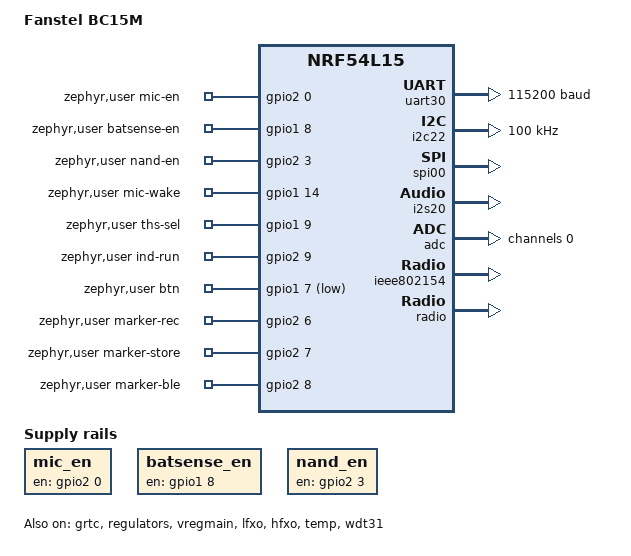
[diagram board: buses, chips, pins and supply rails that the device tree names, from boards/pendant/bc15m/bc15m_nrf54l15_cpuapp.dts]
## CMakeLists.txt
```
cmake_minimum_required(VERSION 3.20.0)
find_package(Zephyr REQUIRED HINTS $ENV{ZEPHYR_BASE})
project(lifeos_pendant)

target_sources(app PRIVATE src/main.c src/audio.c src/store.c src/marker.c src/clock.c src/ble.c src/scenario.c src/supervisor.c src/ota.c
	lib/ima_adpcm/ima_adpcm.c lib/audio_dsp/audio_dsp.c lib/chunk/chunk.c lib/ring/ring.c lib/health/health.c lib/sync/sync.c
	lib/aad/aad.c lib/t5838/t5838.c lib/provision/provision.c)
target_sources_ifdef(CONFIG_PENDANT_CRYPTO_BENCH app PRIVATE src/crypto_bench.c)
target_include_directories(app PRIVATE lib/ima_adpcm lib/audio_dsp lib/chunk lib/ring lib/health lib/sync lib/aad lib/t5838 lib/provision)

if(CONFIG_PENDANT_REQUIRE_PROVISIONING)
  if(NOT CONFIG_PENDANT_BLE_SECURE)
    message(FATAL_ERROR "PENDANT_REQUIRE_PROVISIONING needs PENDANT_BLE_SECURE=y")
  endif()
  if(CONFIG_PENDANT_AUTO_RECORD)
    message(FATAL_ERROR "PENDANT_REQUIRE_PROVISIONING forbids PENDANT_AUTO_RECORD=y")
  endif()
  if(NOT CONFIG_PENDANT_BLE OR NOT CONFIG_BT_SMP OR NOT CONFIG_BT_SETTINGS OR
     NOT CONFIG_BT_PRIVACY OR NOT CONFIG_BT_FILTER_ACCEPT_LIST OR
     NOT CONFIG_MCUMGR_TRANSPORT_BT_PERM_RW_AUTHEN)
    message(FATAL_ERROR
      "PENDANT_REQUIRE_PROVISIONING needs BLE, SMP, settings, privacy, "
      "a filter accept list, and authenticated MCUmgr")
  endif()
endif()

if(CONFIG_PENDANT_RELEASE)
  if(NOT CONFIG_MCUBOOT_SIGNATURE_KEY_FILE OR
     CONFIG_MCUBOOT_SIGNATURE_KEY_FILE MATCHES ".*/bootloader/mcuboot/root-ed25519\\.pem")
    message(FATAL_ERROR "PENDANT_RELEASE must use a product MCUboot signing key, not the NCS dev key")
  endif()
  if(NOT CONFIG_MCUBOOT_BOOTLOADER_NO_DOWNGRADE)
    message(FATAL_ERROR "PENDANT_RELEASE needs MCUboot downgrade prevention")
  endif()
  if(NOT CONFIG_PENDANT_WDT)
    message(FATAL_ERROR "PENDANT_RELEASE needs PENDANT_WDT=y")
  endif()
  if(NOT CONFIG_PENDANT_BLE_SECURE OR NOT CONFIG_PENDANT_REQUIRE_PROVISIONING)
    message(FATAL_ERROR "PENDANT_RELEASE needs secure BLE and provisioning")
  endif()
endif()
```

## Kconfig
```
mainmenu "lifeOS Pendant"

config PENDANT_CHUNK_BYTES
	int "ADPCM payload bytes per record (8 s at 32 kbps = 32000)"
	default 32000
	range 4000 65536
	help
	  Must be a multiple of 400 (one 100 ms PDM block = 800 samples = 400 ADPCM bytes).
	  Changing it changes the ring's maximum record size, so reformat (PENDANT_FORMAT_ON_BOOT).

config PENDANT_MIC_GAIN
	depends on PENDANT_AUDIO_SOURCE_PDM
	int "PDM hardware gain in 0.5 dB steps (40 = 0 dB, 80 = +20 dB)"
	default 64
	range 0 80
	help
	  The MSM261 on the XIAO Sense is -26 dBFS at 94 dB SPL, so talking at 60 dB SPL arrives at
	  about -60 dBFS (rms ~30 LSB), close to ADPCM's smallest step (7). Gain before encoding.

config PENDANT_PDM_CLK_MIN
	depends on PENDANT_AUDIO_SOURCE_PDM
	int "Lowest PDM clock the driver may choose (Hz)"
	default 1000000
	help
	  The XIAO's MSM261 wants 1-3.5 MHz. The T5838 low-power mode wants about 768 kHz (its datasheet:
	  AAD D1 and Low-Power mode at CLK = 768 kHz), so Phase 1 needs 600000 here if the nRF can do it.

config PENDANT_PDM_CLK_MAX
	depends on PENDANT_AUDIO_SOURCE_PDM
	int "Highest PDM clock the driver may choose (Hz)"
	default 3500000

config PENDANT_PCM_RATE
	depends on PENDANT_AUDIO_SOURCE_PDM || PENDANT_AUDIO_SOURCE_I2S
	int "PCM sample rate after source conversion (Hz)"
	default 8000

config PENDANT_DC_BLOCK
	depends on PENDANT_AUDIO_SOURCE_PDM || PENDANT_AUDIO_SOURCE_I2S
	bool "Remove the microphone's DC offset before ADPCM"
	default y
	help
	  The MSM261 sits at -90 LSB at 0 dB gain and the offset grows with the gain (about -1000 at
	  +20 dB). A 5 Hz one-pole high-pass keeps the ADPCM step range for the speech.

choice PENDANT_AUDIO_SOURCE
	prompt "Audio input source"
	default PENDANT_AUDIO_SOURCE_PDM if BOARD_XIAO_NRF54L15_NRF54L15_CPUAPP
	default PENDANT_AUDIO_SOURCE_NONE
	help
	  PDM is the XIAO's on-board MSM261. Standard rev 0 has no PDM; its T5848 I2S source is
	  added with issue #35.

config PENDANT_AUDIO_SOURCE_NONE
	bool "No audio source (build-only)"

config PENDANT_AUDIO_SOURCE_PDM
	bool "PDM (XIAO on-board MSM261)"
	depends on DT_HAS_NORDIC_NRF_PDM_ENABLED
	select AUDIO
	select AUDIO_DMIC

config PENDANT_AUDIO_SOURCE_I2S
	bool "I2S (T5848 on BC15M)"
	depends on DT_HAS_NORDIC_NRF_I2S_ENABLED
	select I2S

endchoice

config PENDANT_WDT
	bool "Hardware watchdog fed by the heartbeat supervisor"
	default y

config PENDANT_WDT_TIMEOUT_MS
	int "Watchdog timeout"
	default 8000

config PENDANT_AUDIO_MAX_READ_ERRORS
	depends on PENDANT_AUDIO_SOURCE_PDM || PENDANT_AUDIO_SOURCE_I2S
	int "Consecutive audio read errors before the audio thread stops"
	default 5
	range 1 100
	help
	  A dead microphone must not keep feeding the audio heartbeat. After this many consecutive
	  errors the thread exits and leaves the supervisor armed, so the watchdog resets the chip.

config PENDANT_TEST_HANG_S
	depends on PENDANT_AUDIO_SOURCE_PDM || PENDANT_AUDIO_SOURCE_I2S
	int "Test: hang the audio thread after this many seconds of recording (0 = never)"
	default 0
	help
	  Used to see the watchdog work: the supervisor stops feeding, the chip resets and the next
	  boot logs and records the cause.

config PENDANT_TEST_READ_ERRORS
	depends on PENDANT_AUDIO_SOURCE_PDM || PENDANT_AUDIO_SOURCE_I2S
	int "Test: inject this many audio read errors in total, starting with the first read (0 = never)"
	default 0
	range 0 100
	help
	  Exercises the read-error limit once per boot. Keep it below PENDANT_AUDIO_MAX_READ_ERRORS
	  to test recovery, or above it to test the watchdog reset.

config PENDANT_TEST_WRITER_STALL_MS
	int "Test: sleep in the writer before each ring append (ms, 0 = off)"
	default 0
	range 0 60000
	help
	  Holds a chunk buffer long enough for the audio thread to block on the full queue, so
	  audio_stop() can be tested while the writer is stalled.

config PENDANT_TEST_AUDIO_CYCLES
	depends on PENDANT_AUDIO_SOURCE_PDM || PENDANT_AUDIO_SOURCE_I2S
	int "Test: run this many audio start/stop cycles before the scenario (0 = off)"
	default 0
	range 0 100
	help
	  Each cycle records long enough for at least one full chunk and stops in the middle of the
	  next one. After every cycle it checks that the thread is gone and a chunk was produced. With
	  no writer stall it also checks that no chunk buffer was lost. Run it once without the stall
	  and once with a stall longer than a chunk. Use with PENDANT_MEASURE.

config PENDANT_TEST_OTA_DENY
	bool "Test: refuse OTA uploads as if the battery were too low"

config PENDANT_OTA_CONFIRM_S
	int "Seconds of healthy running before a new image is confirmed"
	default 30

config PENDANT_FORMAT_ON_BOOT
	bool "Erase the ring at every boot (development)"

config PENDANT_RELEASE
	bool "Release build checks (product key, downgrade, WDT, security)"
	default n
	help
	  Product images set this. The build rejects the NCS development signing key,
	  a missing downgrade protection, a disabled watchdog, and insecure BLE.

config PENDANT_REQUIRE_PROVISIONING
	bool "Only record after a bond and a valid TIME"
	help
	  Product builds set this and PENDANT_BLE_SECURE=y. Recording stays off until the
	  device has keys, a bond, and a phone-supplied time (docs/spec/security.md §6.2).

config PENDANT_AUTO_RECORD
	bool "Start recording at boot"
	depends on !PENDANT_AUDIO_SOURCE_NONE
	default y

config PENDANT_BLE
	bool "BLE sync service"
	default y

config PENDANT_BLE_SECURE
	bool "Require an encrypted link for every characteristic"
	help
	  Off in Phase 0 bench builds. Pairing method and privacy are open (issue #26); do not
	  ship with this off.

config PENDANT_CRYPTO_BENCH
	bool "Boot-time AES-GCM benchmark on one record (issue #26 cost estimate)"

config PENDANT_MEASURE
	depends on PENDANT_AUDIO_SOURCE_PDM || PENDANT_AUDIO_SOURCE_I2S
	bool "Measurement build: no logging, no UART, scenario loop with GPIO markers"
	help
	  Build with -DEXTRA_CONF_FILE=measure.conf. The scenario (src/scenario.c) cycles through
	  idle, source only, source + ADPCM, source + ADPCM + ring writes, and advertising, 20 s each.
	  Each segment starts with n pulses on the BLE marker (D15), n = segment number, while
	  everything else is quiet. A BLE sync is started from the phone side at any time.

source "Kconfig.zephyr"
```

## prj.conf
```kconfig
CONFIG_FLASH=y
CONFIG_WATCHDOG=y
CONFIG_HWINFO=y
CONFIG_FLASH_MAP=y
CONFIG_REGULATOR=y
CONFIG_GPIO=y
CONFIG_LOG=y
CONFIG_MAIN_STACK_SIZE=2048
CONFIG_PENDANT_CHUNK_BYTES=8000
CONFIG_BT=y
CONFIG_BT_PERIPHERAL=y
CONFIG_BT_DEVICE_NAME="LifeOS-Pendant"
CONFIG_BT_MAX_CONN=1
CONFIG_BT_L2CAP_TX_MTU=247
CONFIG_BT_BUF_ACL_RX_SIZE=251
CONFIG_BT_BUF_ACL_TX_SIZE=251
CONFIG_BT_BUF_ACL_TX_COUNT=10
CONFIG_BT_CTLR_SDC_TX_PACKET_COUNT=10
CONFIG_BT_CTLR_SDC_RX_PACKET_COUNT=4
CONFIG_BT_CONN_TX_MAX=10
CONFIG_BT_USER_PHY_UPDATE=y
CONFIG_BT_USER_DATA_LEN_UPDATE=y
CONFIG_BT_CTLR_PHY_2M=y
CONFIG_BT_GATT_NOTIFY_MULTIPLE=n
CONFIG_SYSTEM_WORKQUEUE_STACK_SIZE=2048
CONFIG_SOC_FLASH_NRF_RADIO_SYNC_NONE=y
CONFIG_BT_BUF_EVT_RX_COUNT=16
CONFIG_BT_CTLR_SDC_MAX_CONN_EVENT_LEN_DEFAULT=15000
CONFIG_MCUMGR=y
CONFIG_NET_BUF=y
CONFIG_ZCBOR=y
CONFIG_MCUMGR_GRP_IMG=y
CONFIG_MCUMGR_GRP_OS=y
CONFIG_MCUMGR_TRANSPORT_BT=y
CONFIG_MCUMGR_TRANSPORT_BT_PERM_RW=y
CONFIG_MCUMGR_MGMT_NOTIFICATION_HOOKS=y
CONFIG_MCUMGR_GRP_IMG_UPLOAD_CHECK_HOOK=y
CONFIG_MCUMGR_TRANSPORT_NETBUF_SIZE=2048
CONFIG_MCUMGR_TRANSPORT_WORKQUEUE_STACK_SIZE=4608
CONFIG_IMG_MANAGER=y
CONFIG_STREAM_FLASH=y
CONFIG_MCUBOOT_IMG_MANAGER=y
CONFIG_MCUMGR_GRP_OS_MCUMGR_PARAMS=y
CONFIG_MCUMGR_TRANSPORT_BT_REASSEMBLY=y

CONFIG_MCUBOOT_BOOTLOADER_NO_DOWNGRADE=y
CONFIG_MCUMGR_GRP_IMG_ALLOW_CONFIRM_NON_ACTIVE_IMAGE_SECONDARY=n
CONFIG_MCUMGR_GRP_IMG_ALLOW_CONFIRM_NON_ACTIVE_SLOT=n
CONFIG_MCUMGR_GRP_IMG_TOO_LARGE_SYSBUILD=y
```

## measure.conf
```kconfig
# Measurement build: nothing that burns current for its own sake.
CONFIG_PENDANT_MEASURE=y
CONFIG_PENDANT_AUTO_RECORD=n
CONFIG_PENDANT_BLE=n
CONFIG_LOG=n
CONFIG_CONSOLE=n
CONFIG_UART_CONSOLE=n
CONFIG_SERIAL=n
CONFIG_PENDANT_CHUNK_BYTES=32000
```

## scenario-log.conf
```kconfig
# measure.conf + logging on, to check the scenario sequence over the UART (no scope needed).
CONFIG_LOG=y
CONFIG_SERIAL=y
CONFIG_CONSOLE=y
CONFIG_UART_CONSOLE=y
```

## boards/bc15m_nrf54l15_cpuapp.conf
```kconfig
CONFIG_PENDANT_AUDIO_SOURCE_I2S=y
CONFIG_PENDANT_CHUNK_BYTES=32000
```

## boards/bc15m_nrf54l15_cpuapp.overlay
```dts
/* Standard rev 0: MCUboot + the ring partition layout (docs/spec/firmware.md §2.1). */
#include "pendant_partitions.dtsi"
```

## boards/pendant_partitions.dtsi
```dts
/* RRAM layout with MCUboot (docs/spec/firmware.md §2.1, issue #11). Included by the app overlay and by the MCUboot
 * overlay (sysbuild/mcuboot.overlay), so both agree. 1524 KB of RRAM:
 *   mcuboot 62 KB | image-0 320 KB | image-1 320 KB | storage 36 KB | ring 784 KB
 * The Phase 0 ring used slot1; it moves to its own partition so MCUboot can have a secondary slot. */
/delete-node/ &slot0_partition;
/delete-node/ &slot1_partition;
/delete-node/ &storage_partition;

&cpuapp_rram {
	partitions {
		slot0_partition: partition@10000 {
			compatible = "zephyr,mapped-partition";
			label = "image-0";
			reg = <0x10000 DT_SIZE_K(320)>;
		};

		slot1_partition: partition@60000 {
			compatible = "zephyr,mapped-partition";
			label = "image-1";
			reg = <0x60000 DT_SIZE_K(320)>;
		};

		storage_partition: partition@b0000 {
			compatible = "zephyr,mapped-partition";
			label = "storage";
			reg = <0xb0000 DT_SIZE_K(36)>;
		};

		ring_partition: partition@b9000 {
			compatible = "zephyr,mapped-partition";
			label = "ring";
			reg = <0xb9000 DT_SIZE_K(784)>;
		};
	};
};
```

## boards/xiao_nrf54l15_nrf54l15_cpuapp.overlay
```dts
/* Board default turns these on at boot. Off for power measurement (docs/plan/prototype.md §2.3). */

/ {
	zephyr,user {
		marker-rec-gpios = <&gpio2 8 GPIO_ACTIVE_HIGH>;   /* D6 */
		marker-store-gpios = <&gpio2 7 GPIO_ACTIVE_HIGH>; /* D7 */
		marker-ble-gpios = <&gpio2 6 GPIO_ACTIVE_HIGH>;   /* D15 (back pad) */
	};
};

/* Mic + IMU load switch. Enable at runtime only while recording. */
&pdm_imu_pwr {
	/delete-property/ regulator-boot-on;
};

/* Battery divider: VBAT follows VBUS when fed from the 5V pin (~240 µA at 4.8 V). */
&vbat_pwr {
	/delete-property/ regulator-boot-on;
};

/* Watchdog for the heartbeat supervisor (docs/spec/firmware.md §4.1). */
&wdt31 {
	status = "okay";
};

#include "pendant_partitions.dtsi"
```

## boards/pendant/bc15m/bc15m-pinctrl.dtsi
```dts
&pinctrl {
	/omit-if-no-ref/ uart30_default: uart30_default {
		group1 {
			psels = <NRF_PSEL(UART_TX, 0, 0)>;
		};

		group2 {
			psels = <NRF_PSEL(UART_RX, 0, 1)>;
			bias-pull-up;
		};
	};

	/omit-if-no-ref/ uart30_sleep: uart30_sleep {
		group1 {
			psels = <NRF_PSEL(UART_TX, 0, 0)>,
				<NRF_PSEL(UART_RX, 0, 1)>;
			low-power-enable;
		};
	};

	/omit-if-no-ref/ i2c22_default: i2c22_default {
		group1 {
			psels = <NRF_PSEL(TWIM_SDA, 1, 10)>,
				<NRF_PSEL(TWIM_SCL, 1, 11)>;
		};
	};

	/omit-if-no-ref/ i2c22_sleep: i2c22_sleep {
		group1 {
			psels = <NRF_PSEL(TWIM_SDA, 1, 10)>,
				<NRF_PSEL(TWIM_SCL, 1, 11)>;
			low-power-enable;
		};
	};

	/omit-if-no-ref/ spi00_default: spi00_default {
		group1 {
			psels = <NRF_PSEL(SPIM_SCK, 2, 1)>,
				<NRF_PSEL(SPIM_MOSI, 2, 2)>,
				<NRF_PSEL(SPIM_MISO, 2, 4)>;
		};
	};

	/omit-if-no-ref/ spi00_sleep: spi00_sleep {
		group1 {
			psels = <NRF_PSEL(SPIM_SCK, 2, 1)>,
				<NRF_PSEL(SPIM_MOSI, 2, 2)>,
				<NRF_PSEL(SPIM_MISO, 2, 4)>;
			low-power-enable;
		};
	};

	/omit-if-no-ref/ i2s20_default: i2s20_default {
		group1 {
			psels = <NRF_PSEL(I2S_SCK_M, 1, 12)>,
				<NRF_PSEL(I2S_LRCK_M, 1, 3)>,
				<NRF_PSEL(I2S_SDIN, 1, 13)>;
		};
	};
};
```

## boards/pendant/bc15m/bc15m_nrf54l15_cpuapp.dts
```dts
/dts-v1/;

#include <nordic/nrf54l15_cpuapp.dtsi>
#include <zephyr/dt-bindings/adc/adc.h>
#include "bc15m-pinctrl.dtsi"

/ {
	model = "Fanstel BC15M";
	compatible = "fanstel,bc15m-cpuapp";

	chosen {
		zephyr,code-partition = &slot0_partition;
		zephyr,sram = &cpuapp_sram;
		zephyr,flash = &cpuapp_rram;
		zephyr,flash-controller = &rram_controller;
		zephyr,console = &uart30;
		zephyr,shell-uart = &uart30;
		nordic,rpc-uart = &uart30;
		zephyr,ieee802154 = &ieee802154;
	};

	aliases {
		watchdog0 = &wdt31;
	};

	zephyr,user {
		mic-en-gpios = <&gpio2 0 GPIO_ACTIVE_HIGH>;
		batsense-en-gpios = <&gpio1 8 GPIO_ACTIVE_HIGH>;
		nand-en-gpios = <&gpio2 3 GPIO_ACTIVE_HIGH>;
		mic-wake-gpios = <&gpio1 14 GPIO_ACTIVE_HIGH>;
		ths-sel-gpios = <&gpio1 9 GPIO_ACTIVE_HIGH>;
		ind-run-gpios = <&gpio2 9 GPIO_ACTIVE_HIGH>;
		btn-gpios = <&gpio1 7 (GPIO_PULL_UP | GPIO_ACTIVE_LOW)>;
		marker-rec-gpios = <&gpio2 6 GPIO_ACTIVE_HIGH>;
		marker-store-gpios = <&gpio2 7 GPIO_ACTIVE_HIGH>;
		marker-ble-gpios = <&gpio2 8 GPIO_ACTIVE_HIGH>;
	};

	mic_en: mic-en {
		compatible = "regulator-fixed";
		regulator-name = "MIC_1V8";
		enable-gpios = <&gpio2 0 GPIO_ACTIVE_HIGH>;
	};

	batsense_en: batsense-en {
		compatible = "regulator-fixed";
		regulator-name = "VBAT_SENSE";
		enable-gpios = <&gpio1 8 GPIO_ACTIVE_HIGH>;
	};

	nand_en: nand-en {
		compatible = "regulator-fixed";
		regulator-name = "NAND_1V8";
		enable-gpios = <&gpio2 3 GPIO_ACTIVE_HIGH>;
	};
};

&cpuapp_sram {
	status = "okay";
};

&grtc {
	owned-channels = <0 1 2 3 4 5 6 7 8 9 10 11>;
	child-owned-channels = <3 4 7 8 9 10 11>;
	status = "okay";
};

&clock {
	status = "okay";
};

&uart30 {
	status = "okay";
	current-speed = <115200>;
	pinctrl-0 = <&uart30_default>;
	pinctrl-1 = <&uart30_sleep>;
	pinctrl-names = "default", "sleep";
};

&i2c22 {
	status = "okay";
	clock-frequency = <100000>;
	pinctrl-0 = <&i2c22_default>;
	pinctrl-1 = <&i2c22_sleep>;
	pinctrl-names = "default", "sleep";
};

&spi00 {
	status = "okay";
	cs-gpios = <&gpio2 5 GPIO_ACTIVE_LOW>;
	pinctrl-0 = <&spi00_default>;
	pinctrl-1 = <&spi00_sleep>;
	pinctrl-names = "default", "sleep";
};

&i2s20 {
	status = "okay";
	clock-source = "PCLK32M_HFXO";
	pinctrl-0 = <&i2s20_default>;
	pinctrl-names = "default";
};

&adc {
	status = "okay";
	#address-cells = <1>;
	#size-cells = <0>;

	channel@0 {
		reg = <0>;
		zephyr,gain = "ADC_GAIN_1_4";
		zephyr,reference = "ADC_REF_INTERNAL";
		zephyr,acquisition-time = <ADC_ACQ_TIME(ADC_ACQ_TIME_MICROSECONDS, 40)>;
		zephyr,input-positive = <NRF_SAADC_AIN0>;
		zephyr,resolution = <12>;
		zephyr,oversampling = <8>;
	};
};

&gpio0 {
	status = "okay";
};

&gpio1 {
	status = "okay";
};

&gpio2 {
	status = "okay";
};

&gpiote20 {
	status = "okay";
};

&gpiote30 {
	status = "okay";
};

&regulators {
	status = "okay";
};

&vregmain {
	status = "okay";
	regulator-initial-mode = <NRF5X_REG_MODE_DCDC>;
};

&lfxo {
	load-capacitors = "internal";
	load-capacitance-femtofarad = <7000>;
	status = "okay";
};

&hfxo {
	load-capacitors = "internal";
	load-capacitance-femtofarad = <17000>;
	status = "okay";
};

&ieee802154 {
	status = "okay";
};

&temp {
	status = "okay";
};

&radio {
	status = "okay";
};

&wdt31 {
	status = "okay";
};

/* P1.03 is the I2S WS pin; the NFC function must not claim it. */
&nfct {
	status = "disabled";
};

&uicr {
	nfct-pins-as-gpios;
};

/* Standard rev 0 has no PDM microphone. */
/delete-node/ &pdm20;

#include <vendor/nordic/nrf54l15_cpuapp_partition.dtsi>
```

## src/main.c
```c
#include <zephyr/kernel.h>
#include <zephyr/logging/log.h>
#include "audio.h"
#include "ble.h"
#include "marker.h"
#include "scenario.h"
#include "ota.h"
#include "store.h"
#include "supervisor.h"

LOG_MODULE_REGISTER(pendant, LOG_LEVEL_INF);

#ifdef CONFIG_PENDANT_CRYPTO_BENCH
void crypto_bench(void);
#endif

static uint32_t audio_next_try;
static int audio_fails, audio_retry_pending;

static void maybe_start_audio(int store_ok, int wdt_ok)
{
	uint32_t now, delay;
	int err;

	if (!IS_ENABLED(CONFIG_PENDANT_AUTO_RECORD) || !store_ok || !wdt_ok || audio_running() ||
	    audio_faulted()) {
		return;
	}
	now = k_uptime_get_32();
	if (audio_retry_pending && (int32_t)(now - audio_next_try) < 0) {
		return;
	}
	err = audio_start();
	if (!err) {
		audio_fails = 0;
		audio_retry_pending = 0;
		LOG_INF("recording started");
		return;
	}
	audio_fails++;
	delay = MIN(30000u, 1000u << MIN(audio_fails, 5));
	audio_next_try = now + delay;
	audio_retry_pending = 1;
	LOG_ERR("record start failed (%d), retry in %u ms", err, delay);
}

int main(void)
{
#ifdef CONFIG_PENDANT_CRYPTO_BENCH
	crypto_bench();
#endif

	marker_init();
	uint8_t cause = supervisor_reset_cause();

	int wdt_ok = supervisor_init() == 0;
	int store_ok;

	ota_init();
	store_ok = store_init() == 0;
	if (!store_ok) {
		LOG_ERR("store_init failed; continuing without recording");
	}
	if (store_ok) {
		uint8_t ev[CHUNK_EVENT_SIZE];

		chunk_event_encode_arg(ev, CHUNK_EV_RESET, cause, k_uptime_get_32());
		LOG_INF("reset event record: %d", store_append(CHUNK_EVENT, ev, sizeof(ev)));
	}
	if (IS_ENABLED(CONFIG_PENDANT_MEASURE) && store_ok && wdt_ok) {
		ble_enable();
		scenario_run();
	}
	if (IS_ENABLED(CONFIG_PENDANT_BLE)) {
		LOG_INF("ble init: %d", ble_init());
	}
	maybe_start_audio(store_ok, wdt_ok);
	for (;;) {
		const struct audio_stats *a = audio_stats();
		const struct store_stats *s = store_stats();
		struct ring *r = store_ring();

		k_sleep(K_SECONDS(5));
		sup_beat(SUP_MAIN);
		maybe_start_audio(store_ok, wdt_ok);
		if (wdt_ok && store_ok) {
			ota_poll();
		}
		LOG_INF("store %d wdt %d | blocks %u chunks %u rderr %u nobuf %u | wr %u err %u last %u max %u ms | "
			"tail %u next %u | mic min %d max %d ms2 %u",
			store_ok, wdt_ok, a->blocks, a->chunks, a->read_errors, a->no_buffer, s->chunks_written,
			s->write_errors, s->last_write_ms, s->max_write_ms, r->tail_seq, r->next_seq, a->last_min,
			a->last_max, a->last_rms2);
	}
	return 0;
}
```

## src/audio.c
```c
#include <errno.h>
#include <zephyr/kernel.h>
#include <zephyr/logging/log.h>
#include "audio.h"

#if defined(CONFIG_PENDANT_AUDIO_SOURCE_PDM)
#include <zephyr/audio/dmic.h>
#include <zephyr/drivers/regulator.h>
#include <hal/nrf_pdm.h>
#elif defined(CONFIG_PENDANT_AUDIO_SOURCE_I2S)
#include <zephyr/drivers/i2s.h>
#include <zephyr/drivers/regulator.h>
#endif

#if !defined(CONFIG_PENDANT_AUDIO_SOURCE_NONE)
#include "audio_dsp.h"
#include "clock.h"
#include "ima_adpcm.h"
#include "marker.h"
#include "store.h"
#include "supervisor.h"
#endif

LOG_MODULE_REGISTER(audio, LOG_LEVEL_INF);

static struct audio_stats stats;
static volatile enum audio_mode mode = AUDIO_FULL;
static atomic_t running = ATOMIC_INIT(0);
static volatile int faulted;

void audio_set_mode(enum audio_mode m)
{
	mode = m;
}

int audio_running(void)
{
	return atomic_get(&running);
}

int audio_faulted(void)
{
	return faulted;
}

const struct audio_stats *audio_stats(void)
{
	return &stats;
}

#if defined(CONFIG_PENDANT_AUDIO_SOURCE_PDM) || defined(CONFIG_PENDANT_AUDIO_SOURCE_I2S)

#define RATE      CONFIG_PENDANT_PCM_RATE
#define BLK_SMP   (RATE / 10) /* 100 ms */
#define BLK_BYTES (BLK_SMP * 2)
#define ENC_BYTES (BLK_SMP / 2)

BUILD_ASSERT(CONFIG_PENDANT_CHUNK_BYTES % ENC_BYTES == 0, "chunk must be whole 100 ms blocks");

#if defined(CONFIG_PENDANT_AUDIO_SOURCE_PDM)
K_MEM_SLAB_DEFINE_STATIC(slab, BLK_BYTES, 8, 4);
#else
K_MEM_SLAB_DEFINE_STATIC(slab, BLK_BYTES, 2, 4);
#endif

static volatile int run, active, thread_started;
static struct chunk_buf *volatile active_cb;
static uint32_t injected_read_errors;
static K_SEM_DEFINE(stopped, 0, 1);

static void thread_fn(void *a, void *b, void *c);
K_THREAD_STACK_DEFINE(stack, 3072);
static struct k_thread thread;

struct audio_ctx {
	struct ima_adpcm st;
	struct chunk_buf *cb;
	uint32_t off;
	struct audio_dsp_dc dc;
	uint8_t no_buffer_streak;
};

static void process_block(struct audio_ctx *c, int16_t *s, size_t n)
{
	if (store_halted()) {
		LOG_ERR("storage halted; stopping audio");
		faulted = 1;
		run = 0;
		return;
	}
	if (mode == AUDIO_PDM_ONLY) { /* source and DMA only */
		stats.blocks++;
		return;
	}
	if (!c->cb) { /* a new record starts with this block */
		c->cb = store_buf_get(K_NO_WAIT);
		if (!c->cb) {
			stats.no_buffer++; /* writer still busy with both buffers: drop the block */
			store_note_drop(1);
			if (++c->no_buffer_streak >= 100) {
				LOG_ERR("no chunk buffer for 10 s; stopping audio");
				faulted = 1;
				run = 0;
			}
			return;
		}
		c->no_buffer_streak = 0;
		active_cb = c->cb;
		ima_adpcm_reset(&c->st); /* every record decodes on its own (docs/spec/formats.md §2) */
		c->off = 0;
		uint32_t mono = k_uptime_get_32();

		c->cb->mono_ms = mono > 100 ? mono - 100 : 0; /* the block just ended */
		uint64_t rtc = clock_rtc_ms();

		if (rtc >= 100) {
			c->cb->rtc_ms = rtc - 100;
			c->cb->flags = 0;
		} else {
			c->cb->rtc_ms = 0;
			c->cb->flags = CHUNK_F_RTC_INVALID;
		}
	}
	{
		int32_t mn = 32767, mx = -32768;
		int64_t sq = 0;

		for (size_t i = 0; i < n; i++) {
			mn = MIN(mn, s[i]);
			mx = MAX(mx, s[i]);
			sq += (int32_t)s[i] * s[i];
		}
		stats.last_min = mn;
		stats.last_max = mx;
		stats.last_rms2 = sq / n;
	}
	if (IS_ENABLED(CONFIG_PENDANT_DC_BLOCK)) {
		audio_dsp_dc_block(&c->dc, s, n);
	}
	ima_adpcm_encode(&c->st, s, n, c->cb->payload + c->off);
	stats.blocks++;
	c->off += ENC_BYTES;
	if (c->off == CONFIG_PENDANT_CHUNK_BYTES) {
		struct chunk_buf *done = c->cb;

		done->len = c->off;
		c->cb = NULL;
		active_cb = NULL; /* the queue owns it from here; stop must not release it */
		if (mode == AUDIO_FULL) {
			int err;

			do {
				err = store_buf_submit_timeout(done, K_MSEC(100));
			} while (err && run);
			if (err) { /* only when the writer is still stalled and stop was requested */
				store_buf_release(done);
			} else {
				stats.chunks++;
			}
		} else {
			store_buf_release(done); /* ENCODE only: nothing is written */
			stats.chunks++;
		}
	}
}

static void thread_exit(struct audio_ctx *c)
{
	if (faulted) {
		store_flush_drops(); /* best effort before the watchdog reset */
	}
	active_cb = NULL; /* clear before releasing: the stop-timeout abort path must not release it again */
	if (c->cb) {
		store_buf_release(c->cb);
		c->cb = NULL;
	}
	atomic_set(&running, 0);
	k_sem_give(&stopped);
}

static bool stop_thread(void)
{
	run = 0;
	if (thread_started) {
		int err = k_sem_take(&stopped, K_SECONDS(3));

		if (err) { /* only a stuck driver/test hang should get here */
			LOG_ERR("audio thread did not stop (%d); aborting", err);
			k_thread_abort(&thread);
		}
		if (k_thread_join(&thread, K_SECONDS(1)) != 0) {
			LOG_ERR("audio thread did not join; refusing to reuse its stack");
			return false; /* keep thread_started set: the next start fails instead of reusing it */
		}
		thread_started = 0;
		if (active_cb) { /* the thread is dead now; release only after join */
			store_buf_release((struct chunk_buf *)active_cb);
			active_cb = NULL;
		}
	}
	return true;
}

#if defined(CONFIG_PENDANT_AUDIO_SOURCE_PDM)

static const struct device *const mic_pwr = DEVICE_DT_GET(DT_NODELABEL(pdm_imu_pwr));
static const struct device *const dmic = DEVICE_DT_GET(DT_NODELABEL(pdm20));

static void thread_fn(void *a, void *b, void *c)
{
	struct audio_ctx ctx = {0};
	int read_errors = 0;

	atomic_set(&running, 1);
	while (run) {
		void *blk;
		size_t sz;
		int err;

		if (CONFIG_PENDANT_TEST_READ_ERRORS &&
		    injected_read_errors < CONFIG_PENDANT_TEST_READ_ERRORS) {
			err = -EIO;
			injected_read_errors++;
		} else {
			err = dmic_read(dmic, 0, &blk, &sz, 200);
		}

		if (CONFIG_PENDANT_TEST_HANG_S && stats.blocks > CONFIG_PENDANT_TEST_HANG_S * 10) {
			LOG_ERR("test: audio thread hangs now");
			for (;;) {
				k_busy_wait(1000000);
			}
		}

		if (err == -EAGAIN) { /* no block yet; the read timeout is shorter than a block */
			continue;
		}
		if (err) {
			stats.read_errors++;
			read_errors++;
			if (read_errors >= CONFIG_PENDANT_AUDIO_MAX_READ_ERRORS) {
				LOG_ERR("audio read failed %d times (%d); stopping", read_errors, err);
				faulted = 1;
				run = 0; /* leave the supervisor armed: a dead mic must reset, not feed the WDT */
				break;
			}
			continue;
		}
		if (sz != BLK_BYTES) {
			stats.read_errors++;
			store_note_drop(1);
			read_errors++;
			k_mem_slab_free(&slab, blk);
			if (read_errors >= CONFIG_PENDANT_AUDIO_MAX_READ_ERRORS) {
				LOG_ERR("PDM returned a short block %u times; stopping", read_errors);
				faulted = 1;
				run = 0;
				break;
			}
			continue;
		}
		read_errors = 0;
		process_block(&ctx, blk, BLK_SMP);
		sup_beat(SUP_AUDIO);
		k_mem_slab_free(&slab, blk);
	}
	thread_exit(&ctx);
}

int audio_start(void)
{
	struct pcm_stream_cfg stream = {.pcm_width = 16, .mem_slab = &slab, .pcm_rate = CONFIG_PENDANT_PCM_RATE,
					.block_size = BLK_BYTES};
	struct dmic_cfg cfg = {
		.io = {.min_pdm_clk_freq = CONFIG_PENDANT_PDM_CLK_MIN, .max_pdm_clk_freq = CONFIG_PENDANT_PDM_CLK_MAX,
		       .min_pdm_clk_dc = 40, .max_pdm_clk_dc = 60},
		.streams = &stream,
		.channel = {.req_num_streams = 1, .req_num_chan = 1,
			    .req_chan_map_lo = dmic_build_channel_map(0, 0, PDM_CHAN_LEFT)},
	};
	int err;

	if (run || active || thread_started) {
		return -EALREADY;
	}
	stats = (struct audio_stats){0};
	faulted = 0;
	k_sem_reset(&stopped);
	err = regulator_enable(mic_pwr); /* off whenever not recording: no floor current */
	if (!err) {
		for (int i = 0; i < 10; i++) { /* STOP is acknowledged in the driver's ISR */
			err = dmic_configure(dmic, &cfg);
			if (err != -EBUSY) {
				break;
			}
			k_msleep(1);
		}
	}
	if (!err) { /* the Zephyr driver leaves the hardware gain at 0 dB */
		nrf_pdm_gain_set(NRF_PDM20, CONFIG_PENDANT_MIC_GAIN, CONFIG_PENDANT_MIC_GAIN);
	}
	err = err ? err : dmic_trigger(dmic, DMIC_TRIGGER_START);
	if (err) {
		regulator_disable(mic_pwr);
		return err;
	}
	active = 1;
	run = 1;
	k_thread_create(&thread, stack, K_THREAD_STACK_SIZEOF(stack), thread_fn, NULL, NULL, NULL, 5, 0,
			K_NO_WAIT);
	thread_started = 1;
	sup_arm(SUP_AUDIO, 2000);
	marker_set(M_REC, 1);
	return 0;
}

void audio_stop(void)
{
	if (!stop_thread()) {
		return;
	}
	if (active) {
		(void)dmic_trigger(dmic, DMIC_TRIGGER_STOP);
		k_msleep(1); /* let the driver's STOPPED ISR clear active before the next configure */
		(void)regulator_disable(mic_pwr);
		active = 0;
	}
	sup_disarm(SUP_AUDIO);
	store_flush_drops();
	marker_set(M_REC, 0);
	atomic_set(&running, 0);
	faulted = 0;
}

#elif defined(CONFIG_PENDANT_AUDIO_SOURCE_I2S)

#define I2S_BLOCK_FRAMES (BLK_SMP * 2)
#define I2S_BLOCK_BYTES  (I2S_BLOCK_FRAMES * 2 * sizeof(uint32_t))

BUILD_ASSERT(CONFIG_PENDANT_PCM_RATE == AUDIO_DSP_OUT_RATE, "I2S path is fixed at 8 kHz output");

/* The nRF I2S driver keeps the current and next RX buffers in flight and allocates a
 * third one when a block completes, before the app can free the queued block. Two
 * blocks therefore stop the stream with an overrun; keep four (two spare for the app).
 * nRF54L15 has only a 32 MHz I2S source. With 24-bit words and 48X, nrfx picks
 * 32MDIV42 (LRCK ~15.873 kHz), so the output runs ~0.8% slow. #35 stays open until
 * the actual SCK is measured and the clock/compensation decision is made. */
K_MEM_SLAB_DEFINE_STATIC(i2s_slab, I2S_BLOCK_BYTES, 4, 4);

static const struct device *const mic_pwr = DEVICE_DT_GET(DT_NODELABEL(mic_en));
static const struct device *const i2s = DEVICE_DT_GET(DT_NODELABEL(i2s20));
static const struct i2s_config i2s_cfg = {
	.word_size = 24,
	.channels = 2,
	.format = I2S_FMT_DATA_FORMAT_I2S | I2S_FMT_DATA_ORDER_MSB,
	.options = I2S_OPT_BIT_CLK_CONT | I2S_OPT_BIT_CLK_CONTROLLER | I2S_OPT_FRAME_CLK_CONTROLLER,
	.frame_clk_freq = AUDIO_DSP_IN_RATE,
	.mem_slab = &i2s_slab,
	.block_size = I2S_BLOCK_BYTES,
	.timeout = 200,
};

static int i2s_reset(void)
{
	int err = i2s_trigger(i2s, I2S_DIR_RX, I2S_TRIGGER_DROP);

	if (!err) {
		k_msleep(1); /* let the STOPPED ISR release the old RX buffers */
	}
	return err;
}

static int i2s_start_rx(void)
{
	int err = i2s_trigger(i2s, I2S_DIR_RX, I2S_TRIGGER_START);

	for (int i = 0; err && i < 10; i++) {
		k_msleep(1); /* the overrun path stops asynchronously; START may be -EALREADY */
		err = i2s_trigger(i2s, I2S_DIR_RX, I2S_TRIGGER_START);
	}
	return err;
}

static int i2s_recover(void)
{
	int err = i2s_trigger(i2s, I2S_DIR_RX, I2S_TRIGGER_PREPARE);

	if (err) {
		/* PREPARE is only valid in ERROR. If the driver is already READY
		 * (for example after a failed START), a single START is worth trying;
		 * if it is RUNNING, START returns -EALREADY immediately. */
		return i2s_trigger(i2s, I2S_DIR_RX, I2S_TRIGGER_START);
	}
	err = i2s_start_rx();
	if (!err) {
		return 0;
	}
	if (i2s_reset()) {
		return err;
	}
	if (i2s_configure(i2s, I2S_DIR_RX, &i2s_cfg)) {
		return err;
	}
	return i2s_start_rx();
}

static void thread_fn(void *a, void *b, void *c)
{
	struct audio_ctx ctx = {0};
	struct audio_dsp_decim dec;
	int read_errors = 0;

	/* FIR/DC state stays continuous across records; only ADPCM restarts per record. */
	audio_dsp_decim_init(&dec);
	atomic_set(&running, 1);
	while (run) {
		void *in;
		size_t sz;
		int err;

		if (CONFIG_PENDANT_TEST_READ_ERRORS &&
		    injected_read_errors < CONFIG_PENDANT_TEST_READ_ERRORS) {
			err = -EIO;
			injected_read_errors++;
		} else {
			err = i2s_read(i2s, &in, &sz);
		}

		if (CONFIG_PENDANT_TEST_HANG_S && stats.blocks > CONFIG_PENDANT_TEST_HANG_S * 10) {
			LOG_ERR("test: audio thread hangs now");
			for (;;) {
				k_busy_wait(1000000);
			}
		}

		if (err == -EAGAIN) { /* no block yet; the read timeout is shorter than a block */
			continue;
		}
		if (err) {
			stats.read_errors++;
			if (err == -EIO && run && i2s_recover() == 0) {
				read_errors = 0; /* a successful re-arm is not a dead microphone */
				continue;
			}
			read_errors++;
			if (read_errors >= CONFIG_PENDANT_AUDIO_MAX_READ_ERRORS) {
				LOG_ERR("audio read failed %d times (%d); stopping", read_errors, err);
				faulted = 1;
				run = 0;
				break;
			}
			continue;
		}
		if (sz != I2S_BLOCK_BYTES) {
			stats.read_errors++;
			store_note_drop(1);
			read_errors++;
			k_mem_slab_free(&i2s_slab, in);
			if (read_errors >= CONFIG_PENDANT_AUDIO_MAX_READ_ERRORS) {
				LOG_ERR("audio returned a short block %u times; stopping", read_errors);
				faulted = 1;
				run = 0;
				break;
			}
			continue;
		}

		void *out;

		if (k_mem_slab_alloc(&slab, &out, K_NO_WAIT) != 0) {
			stats.no_buffer++;
			store_note_drop(1);
			k_mem_slab_free(&i2s_slab, in);
			continue;
		}
		size_t n = audio_dsp_decim_i2s(&dec, in, I2S_BLOCK_FRAMES, out);

		k_mem_slab_free(&i2s_slab, in);
		if (n != BLK_SMP) {
			stats.read_errors++;
			store_note_drop(1);
			read_errors++;
			k_mem_slab_free(&slab, out);
			if (read_errors >= CONFIG_PENDANT_AUDIO_MAX_READ_ERRORS) {
				LOG_ERR("audio decimator produced a short block %u times; stopping", read_errors);
				faulted = 1;
				run = 0;
				break;
			}
			continue;
		}
		read_errors = 0;
		sup_beat(SUP_AUDIO);
		process_block(&ctx, out, n);
		k_mem_slab_free(&slab, out);
	}
	thread_exit(&ctx);
}

int audio_start(void)
{
	int err;

	if (run || active || thread_started) {
		return -EALREADY;
	}
	stats = (struct audio_stats){0};
	faulted = 0;
	k_sem_reset(&stopped);
	err = regulator_enable(mic_pwr);
	if (!err) {
		for (int i = 0; i < 10; i++) {
			err = i2s_configure(i2s, I2S_DIR_RX, &i2s_cfg);
			if (err != -EBUSY && err != -EINVAL) {
				break;
			}
			(void)i2s_reset(); /* previous stop/error left the driver in a non-READY state */
			k_msleep(1);
		}
		if (!err) {
			err = i2s_start_rx();
		}
		if (err && i2s_reset() == 0) {
			err = i2s_configure(i2s, I2S_DIR_RX, &i2s_cfg);
			if (!err) {
				err = i2s_start_rx();
			}
		}
	}
	if (err) {
		(void)regulator_disable(mic_pwr);
		return err;
	}
	active = 1;
	run = 1;
	k_thread_create(&thread, stack, K_THREAD_STACK_SIZEOF(stack), thread_fn, NULL, NULL, NULL, 5, 0,
			K_NO_WAIT);
	thread_started = 1;
	sup_arm(SUP_AUDIO, 2000);
	marker_set(M_REC, 1);
	return 0;
}

void audio_stop(void)
{
	if (!stop_thread()) {
		return;
	}
	if (active) {
		int err = i2s_reset();

		if (err) {
			LOG_WRN("I2S reset failed (%d)", err);
		}
		(void)regulator_disable(mic_pwr);
		active = 0;
	}
	sup_disarm(SUP_AUDIO);
	store_flush_drops();
	marker_set(M_REC, 0);
	atomic_set(&running, 0);
	faulted = 0;
}

#endif

#elif defined(CONFIG_PENDANT_AUDIO_SOURCE_NONE)

int audio_start(void)
{
	return -ENOTSUP;
}

void audio_stop(void)
{
}

#else
#error "No audio backend selected for this build"
#endif
```

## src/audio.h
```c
/* Audio source -> 8 kHz mono PCM -> IMA-ADPCM 4 bit -> chunk buffers (source chosen in Kconfig). */
#ifndef AUDIO_H
#define AUDIO_H

#include <stdint.h>

struct audio_stats {
	uint32_t blocks, chunks, read_errors, no_buffer;
	int32_t last_min, last_max;
	uint32_t last_rms2; /* mean square of the last block */
};

/* How much of the chain runs, so the measurement build can separate the costs. */
enum audio_mode { AUDIO_PDM_ONLY, AUDIO_ENCODE, AUDIO_FULL };
void audio_set_mode(enum audio_mode m);

int audio_start(void);
void audio_stop(void);
int audio_running(void);
int audio_faulted(void); /* the thread stopped itself; leave the supervisor armed for reset */
const struct audio_stats *audio_stats(void);

#endif
```

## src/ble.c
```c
#include <errno.h>
#include <string.h>
#include <zephyr/bluetooth/bluetooth.h>
#include <zephyr/bluetooth/conn.h>
#include <zephyr/bluetooth/gatt.h>
#include <zephyr/bluetooth/uuid.h>
#include <zephyr/kernel.h>
#include <zephyr/logging/log.h>
#include "audio.h"
#include "ble.h"
#include "clock.h"
#include "marker.h"
#include "store.h"
#include "supervisor.h"
#include "sync.h"

LOG_MODULE_REGISTER(ble, LOG_LEVEL_INF);

#define UUID_BASE(x) BT_UUID_128_ENCODE(0xa3c1f000 + (x), 0x2b6b, 0x4d0c, 0x9f6e, 0x6c6966654f53)
static struct bt_uuid_128 svc_uuid = BT_UUID_INIT_128(UUID_BASE(0));
static struct bt_uuid_128 data_uuid = BT_UUID_INIT_128(UUID_BASE(1));
static struct bt_uuid_128 ctrl_uuid = BT_UUID_INIT_128(UUID_BASE(2));
static struct bt_uuid_128 info_uuid = BT_UUID_INIT_128(UUID_BASE(3));

#ifdef CONFIG_PENDANT_BLE_SECURE
#define PERM_R BT_GATT_PERM_READ_ENCRYPT
#define PERM_W BT_GATT_PERM_WRITE_ENCRYPT
#else
#define PERM_R BT_GATT_PERM_READ
#define PERM_W BT_GATT_PERM_WRITE
#endif

K_MSGQ_DEFINE(cmdq, sizeof(struct sync_cmd), 16, 4);

static struct bt_conn *conn;
static volatile int notify_on;
static struct ble_stats stats;
static struct sync_stats sst;
static int adv_on;

static uint32_t rd32(const uint8_t *p)
{
	return p[0] | p[1] << 8 | p[2] << 16 | (uint32_t)p[3] << 24;
}

static void wr32(uint8_t *p, uint32_t v)
{
	for (int i = 0; i < 4; i++) {
		p[i] = v >> (8 * i);
	}
}

static void ccc_changed(const struct bt_gatt_attr *attr, uint16_t value)
{
	notify_on = value == BT_GATT_CCC_NOTIFY;
}

static ssize_t ctrl_write(struct bt_conn *c, const struct bt_gatt_attr *attr, const void *buf, uint16_t len,
			  uint16_t off, uint8_t flags)
{
	const uint8_t *p = buf;
	struct sync_cmd cm = {.op = len ? p[0] : 0};

	if (len < 1 || off) {
		return BT_GATT_ERR(BT_ATT_ERR_INVALID_ATTRIBUTE_LEN);
	}
	switch (cm.op) {
	case BLE_OP_ACK:
	case BLE_OP_SYNC:
		if (len != 5) {
			return BT_GATT_ERR(BT_ATT_ERR_INVALID_ATTRIBUTE_LEN);
		}
		cm.a = rd32(p + 1);
		break;
	case BLE_OP_TIME:
		if (len != 9) {
			return BT_GATT_ERR(BT_ATT_ERR_INVALID_ATTRIBUTE_LEN);
		}
		cm.t = rd32(p + 1) | (uint64_t)rd32(p + 5) << 32;
		if (!clock_time_valid(cm.t)) {
			return BT_GATT_ERR(BT_ATT_ERR_VALUE_NOT_ALLOWED);
		}
		break;
	case BLE_OP_RESEND:
		if (len != 9) {
			return BT_GATT_ERR(BT_ATT_ERR_INVALID_ATTRIBUTE_LEN);
		}
		cm.a = rd32(p + 1);
		cm.b = rd32(p + 5);
		break;
	case BLE_OP_STOP:
		if (len != 1) {
			return BT_GATT_ERR(BT_ATT_ERR_INVALID_ATTRIBUTE_LEN);
		}
		break;
	default:
		return BT_GATT_ERR(BT_ATT_ERR_VALUE_NOT_ALLOWED);
	}
	if (k_msgq_put(&cmdq, &cm, K_NO_WAIT)) {
		stats.cmd_dropped++; /* queue full: the phone sees an error only for a write with response */
		return BT_GATT_ERR(BT_ATT_ERR_INSUFFICIENT_RESOURCES);
	}
	return len;
}

static ssize_t info_read(struct bt_conn *c, const struct bt_gatt_attr *attr, void *buf, uint16_t len, uint16_t off)
{
	uint8_t d[32] = {1, audio_running()};
	struct ring *r = store_ring();
	uint64_t t = clock_rtc_ms();

	if (!store_ready() || store_try_lock()) {
		return BT_GATT_ERR(BT_ATT_ERR_INSUFFICIENT_RESOURCES);
	}
	{
		wr32(d + 4, r->boot);
		wr32(d + 8, r->tail_seq);
		wr32(d + 12, r->next_seq);
		wr32(d + 16, r->acked);
		store_unlock();
	}
	wr32(d + 20, k_uptime_get_32() / 1000);
	wr32(d + 24, (uint32_t)t);
	wr32(d + 28, (uint32_t)(t >> 32));
	return bt_gatt_attr_read(c, attr, buf, len, off, d, sizeof(d));
}

BT_GATT_SERVICE_DEFINE(pendant_svc, BT_GATT_PRIMARY_SERVICE(&svc_uuid),
	BT_GATT_CHARACTERISTIC(&data_uuid.uuid, BT_GATT_CHRC_NOTIFY, BT_GATT_PERM_NONE, NULL, NULL, NULL),
	BT_GATT_CCC(ccc_changed, PERM_R | PERM_W),
	BT_GATT_CHARACTERISTIC(&ctrl_uuid.uuid, BT_GATT_CHRC_WRITE | BT_GATT_CHRC_WRITE_WITHOUT_RESP, PERM_W, NULL,
			       ctrl_write, NULL),
	BT_GATT_CHARACTERISTIC(&info_uuid.uuid, BT_GATT_CHRC_READ, PERM_R, info_read, NULL, NULL));

#define DATA_ATTR (&pendant_svc.attrs[2])

/* ---- connection ---- */

static K_MUTEX_DEFINE(conn_lock);

static struct bt_conn *conn_get(void)
{
	struct bt_conn *c;

	k_mutex_lock(&conn_lock, K_FOREVER);
	c = conn ? bt_conn_ref(conn) : NULL;
	k_mutex_unlock(&conn_lock);
	return c;
}

static void connected(struct bt_conn *c, uint8_t err)
{
	if (err) {
		adv_on = 0;
		marker_set(M_BLE, 0);
		return;
	}
	k_mutex_lock(&conn_lock, K_FOREVER);
	conn = bt_conn_ref(c);
	k_mutex_unlock(&conn_lock);
	adv_on = 0;
	stats.connects++;
	LOG_INF("connected");
	bt_conn_le_phy_update(c, BT_CONN_LE_PHY_PARAM_2M);
	bt_conn_le_data_len_update(c, BT_LE_DATA_LEN_PARAM_MAX);
	bt_conn_le_param_update(c, BT_LE_CONN_PARAM(6, 12, 0, 400)); /* ask for 7.5-15 ms */
}

static void disconnected(struct bt_conn *c, uint8_t reason)
{
	struct sync_cmd cm = {.op = BLE_OP_STOP};

	LOG_INF("disconnected 0x%02x", reason);
	notify_on = 0;
	k_msgq_put(&cmdq, &cm, K_NO_WAIT);
	cm.op = SYNC_OP_RECLAIM;
	k_msgq_put(&cmdq, &cm, K_NO_WAIT);
	k_mutex_lock(&conn_lock, K_FOREVER);
	if (conn == c) {
		bt_conn_unref(conn);
		conn = NULL;
	}
	k_mutex_unlock(&conn_lock);
	marker_set(M_BLE, 0);
}

static void le_param_updated(struct bt_conn *c, uint16_t interval, uint16_t latency, uint16_t timeout)
{
	stats.interval_125us = interval * 10; /* units of 1.25 ms -> 0.125 ms */
	LOG_INF("conn params: interval %u.%02u ms, latency %u, timeout %u ms", interval * 5 / 4, interval * 5 % 4 * 25, latency,
		timeout * 10);
}

static void le_data_len_updated(struct bt_conn *c, struct bt_conn_le_data_len_info *i)
{
	LOG_INF("data length: tx %u rx %u", i->tx_max_len, i->rx_max_len);
}

static void le_phy_updated(struct bt_conn *c, struct bt_conn_le_phy_info *p)
{
	stats.phy_2m = p->tx_phy == BT_GAP_LE_PHY_2M;
	LOG_INF("phy: tx %u rx %u", p->tx_phy, p->rx_phy);
}

BT_CONN_CB_DEFINE(conn_cb) = {.connected = connected, .disconnected = disconnected, .le_phy_updated = le_phy_updated,
	.le_param_updated = le_param_updated, .le_data_len_updated = le_data_len_updated};

static const struct bt_data ad[] = {
	BT_DATA_BYTES(BT_DATA_FLAGS, BT_LE_AD_GENERAL | BT_LE_AD_NO_BREDR),
	BT_DATA_BYTES(BT_DATA_UUID128_ALL, UUID_BASE(0)),
};
static const struct bt_data sd[] = {
	BT_DATA(BT_DATA_NAME_COMPLETE, CONFIG_BT_DEVICE_NAME, sizeof(CONFIG_BT_DEVICE_NAME) - 1),
};

void ble_adv_start(void)
{
	int err = 0;

	for (int i = 0; i < 3; i++) {
		err = bt_le_adv_start(BT_LE_ADV_CONN_FAST_1, ad, ARRAY_SIZE(ad), sd, ARRAY_SIZE(sd));
		if (!err || err == -EALREADY) {
			err = 0;
			break;
		}
		k_msleep(100);
	}
	adv_on = !err;
	marker_set(M_BLE, !err);
	LOG_INF("advertising: %d", err);
}

void ble_adv_stop(void)
{
	bt_le_adv_stop();
	adv_on = 0;
	marker_set(M_BLE, conn != NULL);
}

const struct ble_stats *ble_stats(void)
{
	{
		struct bt_conn *c = conn_get();

		stats.mtu = c ? bt_gatt_get_mtu(c) : 0;
		if (c) {
			bt_conn_unref(c);
		}
	}
	stats.bytes_sent = sst.bytes_sent;
	stats.records_sent = sst.records_sent;
	stats.resends = sst.resends;
	stats.acks = sst.acks;
	stats.syncs = sst.syncs;
	return &stats;
}

/* ---- sync thread ---- */

static int send(const uint8_t *pkt, size_t n)
{
	struct bt_conn *c = conn_get();
	int err = -ENOTCONN;

	if (!c) {
		return err;
	}
	for (int tries = 0; tries < 2000; tries++) {
		sup_beat(SUP_BLE);
		if (!notify_on) {
			err = -ENOTCONN;
			break;
		}
		err = bt_gatt_notify(c, DATA_ATTR, pkt, n);
		if (err != -ENOMEM) {
			break;
		}
		stats.notify_nomem++;
		k_sleep(K_MSEC(1));
	}
	bt_conn_unref(c);
	return err;
}

static uint8_t recbuf[CHUNK_HDR_SIZE + CONFIG_PENDANT_CHUNK_BYTES + CHUNK_TRAILER_SIZE];

static int io_tx(void *c, const uint8_t *pkt, size_t n)
{
	return send(pkt, n);
}

static int io_poll(void *c, struct sync_cmd *cm)
{
	return !k_msgq_get(&cmdq, cm, K_NO_WAIT);
}

static void io_other(void *c, const struct sync_cmd *cm) /* TIME */
{
	uint8_t p[CHUNK_TIMEFIX_SIZE];
	uint64_t before;
	int err;

	if (!store_ready()) {
		LOG_WRN("TIME rejected while storage is unavailable");
		return;
	}
	before = clock_rtc_ms();
	err = clock_set(cm->t);
	if (err) {
		LOG_WRN("TIME rejected (%d)", err);
		return;
	}
	chunk_timefix_encode(p, before, cm->t);
	LOG_INF("time set, timefix append: %d", store_append(CHUNK_TIMEFIX, p, sizeof(p)));
}

static void io_lock(void *c)
{
	store_lock();
}

static void io_unlock(void *c)
{
	store_unlock();
}

static uint32_t io_mono(void *c)
{
	return k_uptime_get_32();
}

static uint64_t io_rtc(void *c)
{
	return clock_rtc_ms();
}

static struct sync_io io = {.tx = io_tx, .poll = io_poll, .other = io_other, .lock = io_lock, .unlock = io_unlock,
			    .mono_ms = io_mono, .rtc_ms = io_rtc, .buf = recbuf, .buf_size = sizeof(recbuf), .st = &sst};

static void do_sync(struct sync *s, uint32_t have)
{
	int64_t t0 = k_uptime_get();

	if (!store_ready()) {
		return;
	}
	uint32_t b0 = sst.bytes_sent;
	int r;

	struct bt_conn *c = conn_get();

	if (!c) {
		return;
	}
	io.frag = MIN(bt_gatt_get_mtu(c) - 3 - 8, 244);
	bt_conn_unref(c);
	LOG_INF("sync from %u", have);
	r = sync_run(s, have);
	stats.last_sync_ms = k_uptime_get() - t0;
	stats.last_sync_bytes = sst.bytes_sent - b0;
	LOG_INF("sync %s: %u B in %u ms (%u kB/s), 2M %d, nomem retries %u, resends %u", r ? "ended early" : "done",
		stats.last_sync_bytes, stats.last_sync_ms, stats.last_sync_ms ? stats.last_sync_bytes / stats.last_sync_ms : 0,
		stats.phy_2m, stats.notify_nomem, sst.resends);
}

static void sync_thread(void *a, void *b, void *c)
{
	struct sync_cmd cm;

	for (;;) {
		struct sync s;

		if (!store_ready()) {
			k_msgq_purge(&cmdq);
			sup_beat(SUP_BLE);
			k_sleep(K_SECONDS(1));
			continue;
		}
		sync_init(&s, store_ring(), &io);
		sup_beat(SUP_BLE);
		if (k_msgq_get(&cmdq, &cm, K_SECONDS(5))) {
			if (!conn && IS_ENABLED(CONFIG_PENDANT_BLE)) {
				ble_adv_start();
			}
			continue; /* idle: wake up now and then so the supervisor hears us */
		}
		switch (cm.op) {
		case BLE_OP_SYNC:
			do_sync(&s, cm.a);
			break;
		case BLE_OP_RESEND: {
			struct bt_conn *c = conn_get();

			io.frag = c ? MIN(bt_gatt_get_mtu(c) - 3 - 8, 244) : 20;
			if (c) {
				bt_conn_unref(c);
			}
			LOG_INF("resend %u from %u: %d", cm.a, cm.b, sync_resend(&s, cm.a, cm.b));
			break;
		}
		default: /* ACK, TIME, STOP, reclaim: same handling as between records */
			k_msgq_put(&cmdq, &cm, K_NO_WAIT);
			sync_drain(&s);
			if (s.restart) { /* a SYNC was queued behind them (TIME, then SYNC) */
				do_sync(&s, s.have);
			}
		}
		if (!conn && !adv_on && IS_ENABLED(CONFIG_PENDANT_BLE)) {
			ble_adv_start(); /* bench build: stay discoverable */
		}
	}
}

K_THREAD_DEFINE(sync_tid, 3072, sync_thread, NULL, NULL, NULL, 6, 0, 0);

int ble_enable(void)
{
	int err = bt_enable(NULL);

	if (!err) {
		sup_arm(SUP_BLE, 40000); /* an ATT notification may wait 30 s for a dead link */
	}
	return err;
}

int ble_init(void)
{
	int err = 0;

	for (int i = 0; i < 3; i++) {
		err = ble_enable();
		if (!err) {
			break;
		}
		(void)bt_disable();
		k_msleep(100);
	}
	if (!err) {
		ble_adv_start();
	}
	return err;
}
```

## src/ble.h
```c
/* BLE sync service. Wire format: docs/spec/formats.md §6, §9 (fragments, cumulative ACK) plus the control ops below. */
#ifndef BLE_H
#define BLE_H

#include <stdint.h>

/* CTRL characteristic (phone -> pendant), first byte is the op, little-endian fields:
 *   0x01 ACK    upto_seq u32     cumulative; every record up to upto_seq verified (CRC + commit)
 *   0x02 SYNC   have u32         start sending after `have`; gap first if the ring lost some
 *   0x03 TIME   unix_ms u64      set the clock; the pendant appends a timefix record
 *   0x04 RESEND seq u32, off u32 send record seq again from byte off
 *   0x05 STOP                    abort the transfer
 * DATA characteristic (pendant -> phone, notifications): seq u32, off u32, bytes.
 *   seq 0 is the end marker: off = next sequence number (everything older was sent).
 */
enum { BLE_OP_ACK = 1, BLE_OP_SYNC = 2, BLE_OP_TIME = 3, BLE_OP_RESEND = 4, BLE_OP_STOP = 5 };

int ble_enable(void); /* controller up, not advertising */
int ble_init(void);   /* ble_enable() + start advertising */
void ble_adv_start(void);
void ble_adv_stop(void);

struct ble_stats {
	uint32_t cmd_dropped, resends, connects, syncs, bytes_sent, records_sent, acks, notify_nomem, last_sync_ms, last_sync_bytes;
	uint16_t mtu, interval_125us;
	uint8_t phy_2m;
};
const struct ble_stats *ble_stats(void);

#endif
```

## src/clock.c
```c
#include <errno.h>
#include <zephyr/kernel.h>
#include "clock.h"

/* 2000-01-01 .. 2100-01-01 UTC. The phone sends the current time; reject 0 and absurd values
 * so a bad TIME cannot become a "valid" record timestamp. */
#define CLOCK_MIN_MS 946684800000ULL
#define CLOCK_MAX_MS 4102444800000ULL

static int64_t offset_ms; /* unix ms - uptime ms; valid when set */
static int is_set;
static K_MUTEX_DEFINE(clock_lock);

uint64_t clock_rtc_ms(void)
{
	uint64_t now;

	k_mutex_lock(&clock_lock, K_FOREVER);
	now = is_set ? (uint64_t)(offset_ms + k_uptime_get()) : 0;
	k_mutex_unlock(&clock_lock);
	return now;
}

int clock_time_valid(uint64_t unix_ms)
{
	return unix_ms >= CLOCK_MIN_MS && unix_ms <= CLOCK_MAX_MS;
}

int clock_set(uint64_t unix_ms)
{
	if (!clock_time_valid(unix_ms)) {
		return -EINVAL;
	}
	k_mutex_lock(&clock_lock, K_FOREVER);
	offset_ms = (int64_t)unix_ms - k_uptime_get();
	is_set = 1;
	k_mutex_unlock(&clock_lock);
	return 0;
}
```

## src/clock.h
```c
/* Wall clock for record timestamps. Phase 0 has no RTC chip: the phone sets it over BLE
 * (op TIME) and it counts from uptime. Until then records carry RTC_INVALID (docs/spec/formats.md §2, docs/spec/firmware.md §5.2). */
#ifndef CLOCK_H
#define CLOCK_H

#include <stdint.h>

/* unix ms now, or 0 if never set. */
uint64_t clock_rtc_ms(void);
int clock_time_valid(uint64_t unix_ms);
int clock_set(uint64_t unix_ms); /* 0 on success, -EINVAL outside 2000..2100 */

#endif
```

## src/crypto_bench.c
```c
/* #26: what does encrypting a record cost on the nRF54L15 (CRACEN via PSA)? AES-128-GCM over one
 * 8 s record (32000 B + 40 B header authenticated), wall clock and an energy estimate. */
#include <psa/crypto.h>
#include <zephyr/kernel.h>
#include <zephyr/logging/log.h>

LOG_MODULE_REGISTER(cryptob, LOG_LEVEL_INF);

static uint8_t plain[32000], enc[32000 + 16], dec[32000], aad[40];

void crypto_bench(void)
{
	psa_key_id_t key;
	psa_key_attributes_t at = PSA_KEY_ATTRIBUTES_INIT;
	uint8_t k[16] = {1, 2, 3, 4, 5, 6, 7, 8, 9, 10, 11, 12, 13, 14, 15, 16}, nonce[12] = {0};
	size_t olen;
	psa_status_t st = psa_crypto_init();

	psa_set_key_type(&at, PSA_KEY_TYPE_AES);
	psa_set_key_bits(&at, 128);
	psa_set_key_usage_flags(&at, PSA_KEY_USAGE_ENCRYPT | PSA_KEY_USAGE_DECRYPT);
	psa_set_key_algorithm(&at, PSA_ALG_GCM);
	st = st ? st : psa_import_key(&at, k, sizeof(k), &key);
	LOG_INF("psa init/import: %d", (int)st);
	for (size_t i = 0; i < sizeof(plain); i++) {
		plain[i] = i * 31;
	}
	for (int run = 0; run < 3 && !st; run++) {
		uint32_t t0 = k_cycle_get_32(), t1, t2;

		nonce[0] = run;
		st = psa_aead_encrypt(key, PSA_ALG_GCM, nonce, 12, aad, sizeof(aad), plain, sizeof(plain), enc,
				      sizeof(enc), &olen);
		t1 = k_cycle_get_32();
		st = st ? st : psa_aead_decrypt(key, PSA_ALG_GCM, nonce, 12, aad, sizeof(aad), enc, olen, dec, sizeof(dec), &olen);
		t2 = k_cycle_get_32();
		LOG_INF("AES-128-GCM 32000 B: encrypt %u us, decrypt+verify %u us, status %d, roundtrip %s", k_cyc_to_us_floor32(t1 - t0),
			k_cyc_to_us_floor32(t2 - t1), (int)st, !st && !memcmp(plain, dec, sizeof(plain)) ? "ok" : "BAD");
	}
}
```

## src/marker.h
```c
/* Event markers for the oscilloscope. Pins come from /zephyr,user. */
#ifndef MARKER_H
#define MARKER_H

#include <zephyr/drivers/gpio.h>

enum marker { M_REC, M_STORE, M_BLE, M_COUNT };

void marker_init(void);
void marker_set(enum marker m, int on);

#endif
```
